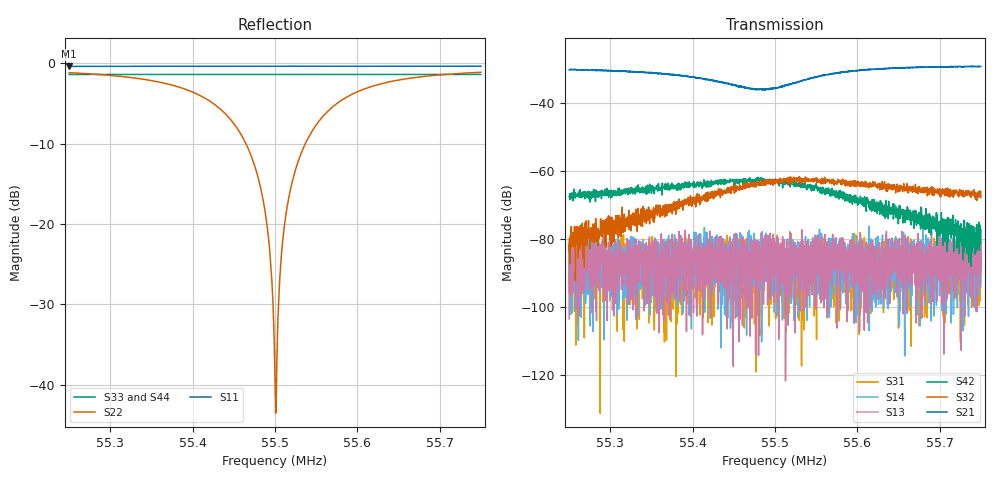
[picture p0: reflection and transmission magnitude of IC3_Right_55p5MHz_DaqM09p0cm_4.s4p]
#  HZ  S  DB  R  50.00
! Rohde & Schwarz Vector Network Analyzer
! Rohde-Schwarz,ZNB8-4Port,1311601044102961,2.82
! Created: UTC 2/13/2019, 2:14:04 PM
! freq[Hz]  db:S11  ang:S11  db:S12  ang:S12  db:S13  ang:S13  db:S14  ang:S14
!  db:S21  ang:S21  db:S22  ang:S22  db:S23  ang:S23  db:S24  ang:S24
!  db:S31  ang:S31  db:S32  ang:S32  db:S33  ang:S33  db:S34  ang:S34
!  db:S41  ang:S41  db:S42  ang:S42  db:S43  ang:S43  db:S44  ang:S44
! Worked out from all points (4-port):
!   2001 points, 55.25 MHz to 55.75 MHz, reference 50 ohm
!   strongest paths, dB at 55.25 MHz, 55.375 MHz, 55.5 MHz, 55.625 MHz, 55.75 MHz:
!     S21: -30.2, -31.7, -35.4, -29.9, -29.2
!     S32: -81.5, -71.1, -62.9, -64.4, -67.8
!     S42: -67.5, -64.1, -62.9, -70.1, -77.2
!     S13: -103.5, -84.6, -81.1, -87.6, -88.8
!     S14: -82.2, -84.7, -87.3, -81.5, -88.6
!     S31: -84.0, -82.5, -87.7, -81.3, -89.4
!   lowest |S11| = -0.4 dB at 55.25 MHz (marker M1), VSWR 42.36, Z = 2.09 + j43.8 ohm
!   |S11| at or under -10 dB: nowhere
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5.525e7  -0.41 97.5  -30.05 74.0  -103.47 97.4  -82.22 -64.5
         -30.15 74.1  -1.18 -129.7  -80.17 28.4  -66.93 -144.5
         -84.01 70.5  -81.48 17.7  -1.41 24.7  -83.20 86.2
         -88.66 143.6  -67.50 -148.0  -84.30 -151.3  -1.44 31.2
5.545275e7  -0.39 93.7  -34.82 65.6  -83.46 -169.2  -85.62 35.8
            -34.69 66.9  -7.91 175.9  -64.73 -38.8  -62.40 166.8
            -83.99 86.3  -64.99 -33.5  -1.41 22.2  -91.72 77.6
            -83.39 -49.4  -63.41 159.2  -97.09 6.6  -1.42 28.7
5.5487e7  -0.39 93.1  -35.76 83.5  -83.31 131.0  -87.15 68.8
          -35.89 84.1  -17.87 154.7  -63.08 -44.0  -63.92 145.9
          -95.14 113.8  -64.17 -49.0  -1.40 21.8  -92.25 -37.8
          -85.02 55.0  -63.19 147.7  -97.25 80.2  -1.43 28.3
5.5501e7  -0.39 92.8  -35.54 91.6  -88.77 163.7  -86.64 -56.5
          -35.62 90.9  -43.44 57.1  -62.52 -51.1  -61.71 133.5
          -85.38 -36.2  -62.48 -58.1  -1.40 21.6  -81.89 177.8
          -87.24 26.5  -63.34 140.3  -83.72 141.3  -1.43 28.1
5.5515e7  -0.39 92.6  -34.56 97.8  -101.84 -144.3  -79.93 -127.3
          -34.70 97.9  -17.72 -37.1  -62.33 -67.3  -63.22 130.6
          -91.54 100.7  -62.52 -67.4  -1.40 21.4  -88.47 -4.8
          -90.17 -163.6  -63.60 133.1  -86.89 -114.9  -1.42 27.9
5.55495e7  -0.39 92.0  -32.29 101.5  -78.98 174.9  -89.91 141.8
           -32.39 101.9  -7.76 -59.0  -62.76 -86.8  -64.33 116.6
           -89.05 36.6  -62.14 -78.2  -1.41 20.9  -90.24 -21.5
           -85.37 -160.8  -64.69 109.3  -89.28 14.8  -1.42 27.5
5.575e7  -0.39 88.3  -29.18 77.8  -88.76 129.3  -88.57 47.9
         -29.20 78.1  -1.14 -114.3  -67.33 -129.7  -84.28 179.1
         -89.35 158.4  -67.76 -124.2  -1.40 18.4  -97.57 122.7
         -85.78 -114.6  -77.17 109.5  -89.69 86.8  -1.42 25.0
